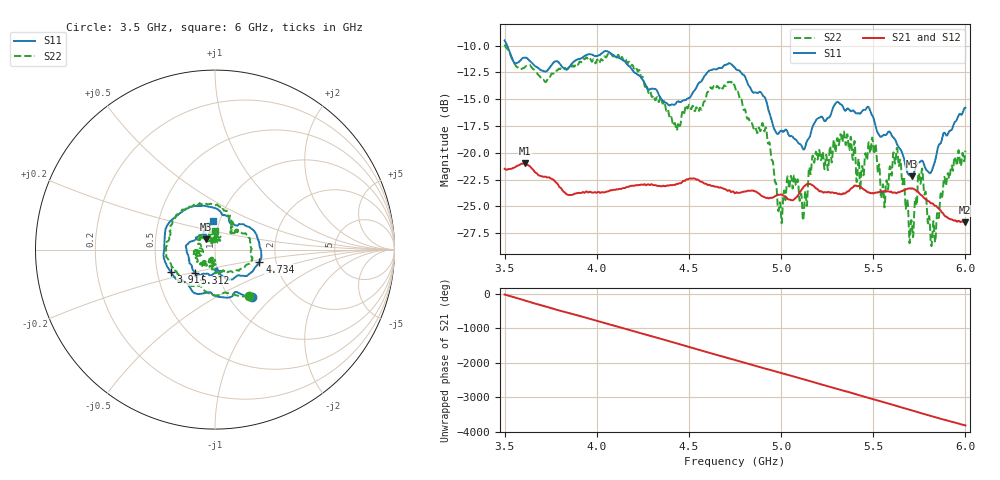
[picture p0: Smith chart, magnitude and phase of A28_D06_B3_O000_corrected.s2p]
! Created with skrf 1.9.0 (http://scikit-rf.org).
# Hz S RI R 50.0
!freq ReS11 ImS11 ReS21 ImS21 ReS12 ImS12 ReS22 ImS22
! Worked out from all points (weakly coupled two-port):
!   1601 points, 3.5 GHz to 6 GHz, reference 50 ohm
!   highest |S21| = -20.98 dB at 3.609 GHz (marker M1); lowest = -26.5 dB at 5.997 GHz (marker M2)
!   lowest |S11| = -22.2 dB at 5.711 GHz (marker M3), VSWR 1.17, Z = 44.8 + j5.2 ohm
!   |S11| at or under -10 dB: 3.514 GHz to end of sweep
!   |S22| runs from -28.7 to -9.9 dB; largest |S21 - S12| = 0.00096
!   S11 on the Smith chart (normalised r, x): 3.5 GHz: 1.27, -0.75; 3.914 GHz: 0.59, -0.16; 4.734 GHz: 1.64, -0.24; 5.312 GHz: 0.78, -0.21; 6 GHz: 0.93, +0.31
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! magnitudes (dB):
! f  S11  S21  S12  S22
! 3.5 GHz  -9.5  -21.5  -21.5  -9.9
! 3.609 GHz  -11.1  -21.0  -21.0  -12.0
! 3.914 GHz  -11.2  -23.8  -23.7  -11.5
! 3.917 GHz  -11.2  -23.7  -23.7  -11.5
! 4.334 GHz  -14.5  -23.1  -23.0  -15.2
! 4.441 GHz  -15.2  -22.9  -22.8  -17.3
! 4.734 GHz  -11.8  -23.6  -23.6  -13.6
! 4.75 GHz  -12.1  -23.8  -23.7  -13.9
! 4.911 GHz  -14.8  -24.2  -24.1  -17.9
! 4.994 GHz  -18.0  -23.9  -23.8  -24.6
! 5.044 GHz  -18.4  -24.4  -24.3  -23.3
! 5.128 GHz  -19.6  -23.1  -23.1  -24.1
! 5.167 GHz  -17.8  -23.0  -22.9  -20.7
! 5.312 GHz  -15.3  -23.8  -23.8  -19.3
! 5.584 GHz  -18.0  -23.6  -23.6  -22.5
! 5.638 GHz  -19.4  -23.7  -23.6  -21.1
! 5.711 GHz  -22.2  -23.3  -23.3  -26.8
! 5.755 GHz  -20.8  -23.9  -23.8  -22.7
! 5.825 GHz  -21.3  -24.8  -24.7  -26.6
! 5.894 GHz  -18.3  -26.0  -25.9  -23.1
! 5.997 GHz  -15.8  -26.5  -26.4  -20.4
! 6 GHz  -15.8  -26.5  -26.4  -19.8
